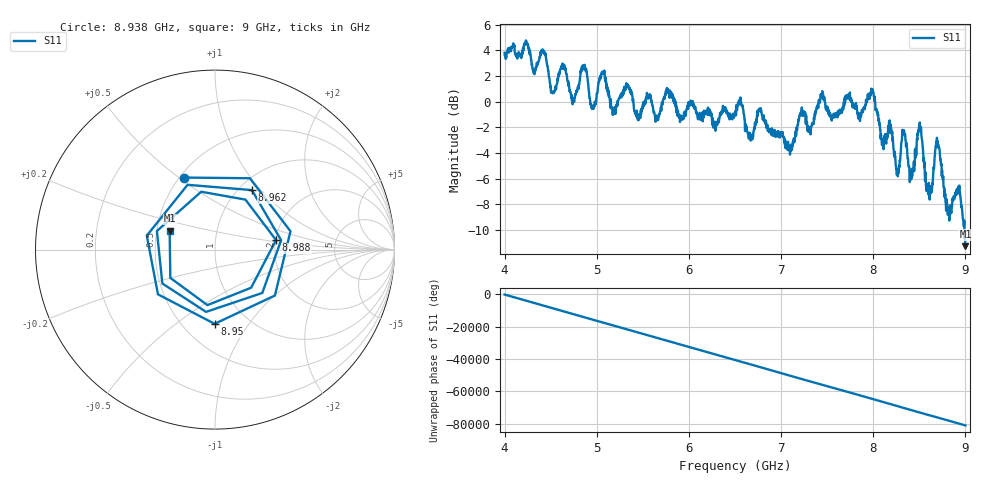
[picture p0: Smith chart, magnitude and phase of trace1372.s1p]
! Created with skrf 1.8.0 (http://scikit-rf.org).
# Hz S RI R 50.0
!freq ReS11 ImS11
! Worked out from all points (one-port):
!   1601 points, 4 GHz to 9 GHz, reference 50 ohm
!   lowest |S11| = -11.3 dB at 9 GHz (marker M1), VSWR 1.75, Z = 29.3 + j6.63 ohm
!   |S11| at or under -10 dB: 8.989569 GHz to end of sweep
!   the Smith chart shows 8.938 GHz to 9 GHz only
!   S11 on the Smith chart (normalised r, x): 8.938 GHz: 0.53, +0.52; 8.95 GHz: 0.71, -0.70; 8.962 GHz: 1.14, +0.89; 8.988 GHz: 2.01, +0.24; 9 GHz: 0.59, +0.13
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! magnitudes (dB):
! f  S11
! 4 GHz  3.8
! 4.422 GHz  3.9
! 4.528 GHz  0.7
! 4.625 GHz  2.8
! 4.741 GHz  0.0
! 4.859 GHz  2.8
! 4.95 GHz  -0.3
! 5.059 GHz  2.3
! 5.25 GHz  0.3
! 5.875 GHz  -1.1
! 6.5 GHz  -0.9
! 7.125 GHz  -3.4
! 7.434 GHz  0.3
! 7.75 GHz  0.1
! 7.991 GHz  1.0
! 8.259 GHz  -5.5
! 8.328 GHz  -2.5
! 8.375 GHz  -4.5
! 8.422 GHz  -5.8
! 8.506 GHz  -1.6
! 8.597 GHz  -7.2
! 8.697 GHz  -3.1
! 8.809 GHz  -8.8
! 8.938 GHz  -7.2
! 8.95 GHz  -7.7
! 8.962 GHz  -8.2
! 8.988 GHz  -9.3
! 9 GHz  -11.3
